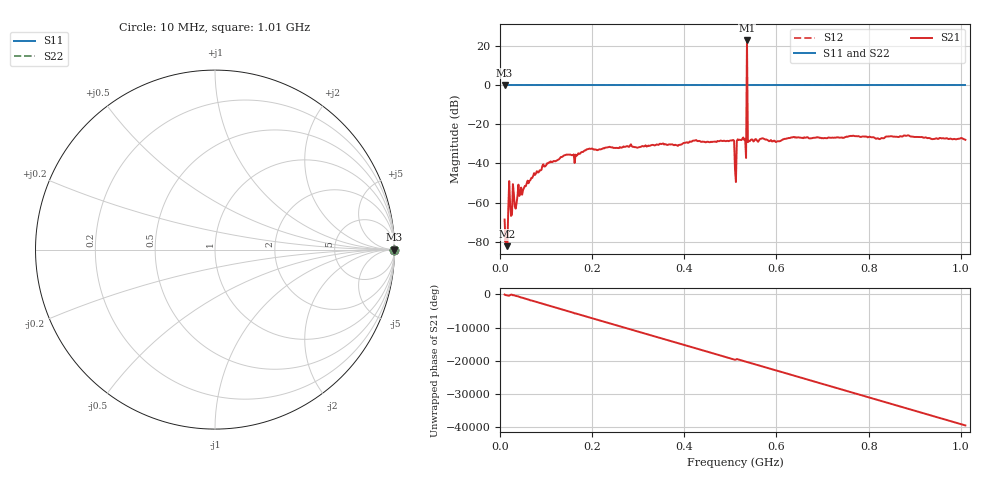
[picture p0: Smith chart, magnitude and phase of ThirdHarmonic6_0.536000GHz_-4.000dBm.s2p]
! 8/15/2025 4:45:00 PM
! C:\ANRITSUVNA\TEMP\TEMP.S2P
! CHANNEL.1
! TR.MEASUREMENT
! RAW.DATA
! RF.CORRECTION.OFF
! AVERAGING.OFF
! IF.BANDWIDTH: 5KHZ
! SWEEPTYPE:  FREQ.SWEEP(Linear)
! Reference Plane Port Info
! PORT:  PORT1  PORT2
! DISTANCE:  0  m  0  m
! TIME:  0  s  0  s
! PHASE.OFFSET:  0  deg.  0  deg.
! LOSS:  0  dB  0  dB
! REF.LOSS:  0  dB  0  dB
! REF.FREQ:  0  Hz  0  Hz
! Power Info
! POWER:  -20  dBm  -20  dBm
! EFF.POWER:  -20  dBm  -20  dBm
! SOURCE.ATTEN:  0  dB  0  dB
! TEST.ATTEN:  0  dB  0  dB
# GHZ S RI R 50.0
! FREQ.GHZ  S11RE  S11IM  S21RE  S21IM  S12RE  S12IM  S22RE  S22IM
!; PortSelection: Port_12
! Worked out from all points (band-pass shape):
!   501 points, 10 MHz to 1.01 GHz, reference 50 ohm
!   highest |S21| = 22.73 dB at 536 MHz (marker M1); lowest = -82.2 dB at 16 MHz (marker M2)
!   |S21| within 3 dB of the highest: 535.8999 MHz to 536.1157 MHz (215.8 kHz wide, 0.0403 % of centre)
!   lowest |S11| = 0.0 dB at 10 MHz (marker M3)
!   |S11| at or under -10 dB: nowhere
!   |S22| runs from 0.0 to 0.0 dB; largest |S21 - S12| = 15
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0.01  1 0  0.000183 -0.000322  1 0  1 0
0.012  1 0  -6.6e-05 7.32e-05  1 0  1 0
0.016  1 0  7.21e-05 2.86e-05  1 0  1 0
0.024  1 0  -4.7e-05 -0.000456  1 0  1 0
0.034  1 0  -0.000211 -0.000669  1 0  1 0
0.042  1 0  0.000794 -0.00125  1 0  1 0
0.076  1 0  0.0051 0.000217  1 0  1 0
0.106  1 0  -0.00795 -0.00701  1 0  1 0
0.178  1 0  -0.0194 -0.00317  1 0  1 0
0.344  1 0  0.0281 -0.00978  1 0  1 0
0.504  1 0  0.034 0.0184  1 0  1 0
0.51  1 0  -0.00378 0.00596  1 0  1 0
0.514  1 0  0.0365 -0.00999  1 0  1 0
0.518  1 0  -0.0394 -0.00304  1 0  1 0
0.53  1 0  0.0177 0.0354  1 0  1 0
0.532  1 0  0.0408 -0.0121  1 0  1 0
0.536  1 0  -13.57 1.838  1 0  1 0
0.54  1 0  0.0361 0.0103  1 0  1 0
0.542  1 0  0.0183 -0.032  1 0  1 0
0.678  1 0  -0.0298 -0.033  1 0  1 0
0.844  1 0  0.044 0.0213  1 0  1 0
1.01  1 0  -0.0399 0.00261  1 0  1 0
